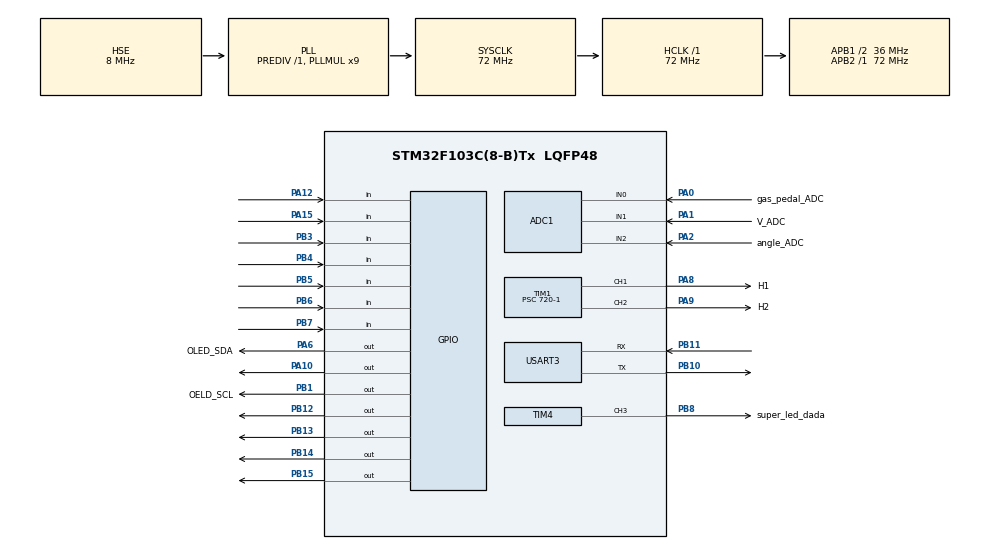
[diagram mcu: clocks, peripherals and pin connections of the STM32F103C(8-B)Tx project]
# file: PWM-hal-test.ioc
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ADC1.Channel-1\#ChannelRegularConversion=ADC_CHANNEL_0
ADC1.Channel-2\#ChannelRegularConversion=ADC_CHANNEL_1
ADC1.Channel-3\#ChannelRegularConversion=ADC_CHANNEL_2
ADC1.ContinuousConvMode=ENABLE
ADC1.ExternalTrigConv=ADC_SOFTWARE_START
ADC1.NbrOfConversion=3
ADC1.NbrOfConversionFlag=1
ADC1.Rank-1\#ChannelRegularConversion=1
ADC1.Rank-2\#ChannelRegularConversion=2
ADC1.Rank-3\#ChannelRegularConversion=3
ADC1.SamplingTime-1\#ChannelRegularConversion=ADC_SAMPLETIME_7CYCLES_5
ADC1.SamplingTime-2\#ChannelRegularConversion=ADC_SAMPLETIME_28CYCLES_5
ADC1.SamplingTime-3\#ChannelRegularConversion=ADC_SAMPLETIME_28CYCLES_5
ADC1.master=1
Dma.ADC1.0.Direction=DMA_PERIPH_TO_MEMORY
Dma.ADC1.0.Instance=DMA1_Channel1
Dma.ADC1.0.MemDataAlignment=DMA_MDATAALIGN_HALFWORD
Dma.ADC1.0.MemInc=DMA_MINC_ENABLE
Dma.ADC1.0.Mode=DMA_CIRCULAR
Dma.ADC1.0.PeriphDataAlignment=DMA_PDATAALIGN_HALFWORD
Dma.ADC1.0.PeriphInc=DMA_PINC_DISABLE
Dma.ADC1.0.Priority=DMA_PRIORITY_LOW
Dma.Request0=ADC1
Dma.Request1=TIM4_CH3
Dma.TIM4_CH3.1.Direction=DMA_MEMORY_TO_PERIPH
Dma.TIM4_CH3.1.Instance=DMA1_Channel5
Dma.TIM4_CH3.1.MemDataAlignment=DMA_MDATAALIGN_HALFWORD
Dma.TIM4_CH3.1.MemInc=DMA_MINC_ENABLE
Dma.TIM4_CH3.1.Mode=DMA_CIRCULAR
Dma.TIM4_CH3.1.PeriphDataAlignment=DMA_PDATAALIGN_HALFWORD
Dma.TIM4_CH3.1.PeriphInc=DMA_PINC_DISABLE
Dma.TIM4_CH3.1.Priority=DMA_PRIORITY_LOW
Mcu.Family=STM32F1
Mcu.Name=STM32F103C(8-B)Tx
Mcu.Package=LQFP48
NVIC.PriorityGroup=NVIC_PRIORITYGROUP_4
PA0-WKUP.GPIO_Label=gas_pedal_ADC
PA0-WKUP.Signal=ADCx_IN0
PA1.GPIO_Label=V_ADC
PA1.Signal=ADCx_IN1
PA10.GPIO_PuPd=GPIO_PULLDOWN
PA10.Signal=GPIO_Output
PA12.GPIO_PuPd=GPIO_PULLDOWN
PA12.Signal=GPIO_Input
PA13.Mode=Serial_Wire
PA13.Signal=SYS_JTMS-SWDIO
PA14.Mode=Serial_Wire
PA14.Signal=SYS_JTCK-SWCLK
PA15.GPIO_PuPd=GPIO_NOPULL
PA15.Signal=GPIO_Input
PA2.GPIO_Label=angle_ADC
PA2.Signal=ADCx_IN2
PA6.GPIO_Label=OLED_SDA
PA6.GPIO_ModeDefaultOutputPP=GPIO_MODE_OUTPUT_OD
PA6.GPIO_PuPd=GPIO_NOPULL
PA6.Signal=GPIO_Output
PA8.GPIO_Label=H1
PA8.Signal=S_TIM1_CH1
PA9.GPIO_Label=H2
PA9.Signal=S_TIM1_CH2
PB1.GPIO_Label=OELD_SCL
PB1.GPIO_ModeDefaultOutputPP=GPIO_MODE_OUTPUT_OD
PB1.GPIO_PuPd=GPIO_NOPULL
PB1.Signal=GPIO_Output
PB10.Mode=Asynchronous
PB10.Signal=USART3_TX
PB11.Mode=Asynchronous
PB11.Signal=USART3_RX
PB12.GPIO_PuPd=GPIO_PULLDOWN
PB12.Signal=GPIO_Output
PB13.GPIO_ModeDefaultOutputPP=GPIO_MODE_OUTPUT_PP
PB13.GPIO_PuPd=GPIO_PULLDOWN
PB13.Signal=GPIO_Output
PB14.GPIO_PuPd=GPIO_PULLDOWN
PB14.Signal=GPIO_Output
PB15.GPIO_PuPd=GPIO_PULLDOWN
PB15.Signal=GPIO_Output
PB3.GPIO_PuPd=GPIO_NOPULL
PB3.Signal=GPIO_Input
PB4.GPIO_PuPd=GPIO_PULLDOWN
PB4.Signal=GPIO_Input
PB5.GPIO_PuPd=GPIO_PULLDOWN
PB5.Signal=GPIO_Input
PB6.GPIO_PuPd=GPIO_PULLDOWN
PB6.Signal=GPIO_Input
PB7.GPIO_PuPd=GPIO_PULLDOWN
PB7.Signal=GPIO_Input
PB8.GPIO_Label=super_led_dada
PB8.Signal=S_TIM4_CH3
PD0-OSC_IN.Mode=HSE-External-Oscillator
PD0-OSC_IN.Signal=RCC_OSC_IN
PD1-OSC_OUT.Mode=HSE-External-Oscillator
PD1-OSC_OUT.Signal=RCC_OSC_OUT
ProjectManager.HeapSize=0x200
ProjectManager.StackSize=0x400
ProjectManager.TargetToolchain=MDK-ARM V5.32
RCC.ADCPresc=RCC_ADCPCLK2_DIV6
RCC.AHBFreq_Value=72000000
RCC.APB1CLKDivider=RCC_HCLK_DIV2
RCC.APB1Freq_Value=36000000
RCC.APB1TimFreq_Value=72000000
RCC.APB2Freq_Value=72000000
RCC.APB2TimFreq_Value=72000000
RCC.HCLKFreq_Value=72000000
RCC.PLLMUL=RCC_PLL_MUL9
RCC.PLLSourceVirtual=RCC_PLLSOURCE_HSE
RCC.SYSCLKFreq_VALUE=72000000
RCC.SYSCLKSource=RCC_SYSCLKSOURCE_PLLCLK
RCC.USBFreq_Value=72000000
SH.ADCx_IN0.0=ADC1_IN0,IN0
SH.ADCx_IN1.0=ADC1_IN1,IN1
SH.ADCx_IN2.0=ADC1_IN2,IN2
SH.S_TIM1_CH1.0=TIM1_CH1,PWM Generation1 CH1
SH.S_TIM1_CH2.0=TIM1_CH2,PWM Generation2 CH2
SH.S_TIM4_CH3.0=TIM4_CH3,PWM Generation3 CH3
TIM1.AutoReloadPreload=TIM_AUTORELOAD_PRELOAD_ENABLE
TIM1.AutomaticOutput=TIM_AUTOMATICOUTPUT_DISABLE
TIM1.Channel-PWM\ Generation1\ CH1=TIM_CHANNEL_1
TIM1.Channel-PWM\ Generation2\ CH2=TIM_CHANNEL_2
TIM1.OCMode_PWM-PWM\ Generation1\ CH1=TIM_OCMODE_PWM1
TIM1.OCMode_PWM-PWM\ Generation2\ CH2=TIM_OCMODE_PWM1
TIM1.OCPolarity_1=TIM_OCPOLARITY_HIGH
TIM1.OCPolarity_2=TIM_OCPOLARITY_HIGH
TIM1.Period=20-1
TIM1.Prescaler=720-1 
TIM4.Channel-PWM\ Generation3\ CH3=TIM_CHANNEL_3
TIM4.Period=90-1
USART3.VirtualMode=VM_ASYNC
VP_TIM1_VS_ClockSourceINT.Mode=Internal
VP_TIM4_VS_ClockSourceINT.Mode=Internal
board=custom

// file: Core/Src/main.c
/* USER CODE BEGIN Header */
/**
  ******************************************************************************
  * @file           : main.c
  * @brief          : Main program body
  ******************************************************************************
  * @attention
  *
  * Copyright (c) 2026 STMicroelectronics.
  * All rights reserved.
  *
  * This software is licensed under terms that can be found in the LICENSE file
  * in the root directory of this software component.
  * If no LICENSE file comes with this software, it is provided AS-IS.
  *
  ******************************************************************************
  */
/* USER CODE END Header */
#include "main.h"
#include "adc.h"
#include "dma.h"
#include "tim.h"
#include "usart.h"
#include "gpio.h"

/* USER CODE BEGIN Includes */
#include "OLED.h"
#include "motor.h"
#include "super_led.h"
/* USER CODE END Includes */

/* USER CODE BEGIN PD */
#define EMA_FACTOR   12       /* EMA 滤波系数: α = 1/EMA_FACTOR, 值越大越平滑但响应会变迟缓 */

/* USER CODE END PD */

/* USER CODE BEGIN PV
*/
	uint16_t ADC_value [3];	//ADC采样值
	uint8_t duty_cycle = 0; //油门CCR原始值0~19
	uint8_t filtered_duty_cycle = 0;   // EMA 滤波后输出值
	uint16_t filtered_accum = 0;       // EMA 历史值
	uint8_t gas = 0;//油门ADC前两位值
	uint8_t last_duty_cycle;  /* 上一次油门值，用于尾灯减速检测 */
	uint32_t tail_light_tick; /* 尾灯亮起的时刻，用于0.5秒延时熄灭 */
/* USER CODE END PV */

void SystemClock_Config(void);

int main(void)
{

  /* MCU Configuration--------------------------------------------------------*/

  /* Reset of all peripherals, Initializes the Flash interface and the Systick. */
  HAL_Init();

  /* Configure the system clock */
  SystemClock_Config();

  /* Initialize all configured peripherals */
  MX_GPIO_Init();
  MX_DMA_Init();
  MX_TIM1_Init();
  MX_ADC1_Init();
  MX_USART3_UART_Init();
  MX_TIM4_Init();
  /* USER CODE BEGIN 2 */
	OLED_Init();
	motor_init();
	super_led_init();
//启动ADC自动校准程序
	HAL_ADCEx_Calibration_Start(&hadc1);
// 启动ADC
	HAL_ADC_Start_DMA(&hadc1,(uint32_t*)&ADC_value,3);
	/*
	内置引脚（输入）
1.油门控制：ADC3.3V PA0
2.总开关 GPIO PB7
3.大灯开关GPIO PB6
4.后退GPIO PB5
5.前进GPIO PB4
6.左灯开关GPIO PB3
7.右灯开关GPIO PA15
8.角度传感器 PA2
9.电压检测 PA1
10.超声波检测模块PA12
内置引脚（输出）
1.尾灯GPIO PB15
2.左转灯GPIO PB14
3.右转灯GPIO PB13
4.前大灯GPIO PB12
5.风扇 GPIO PA10
6.OLED SCL:PB1 SDA:PA6
7.串口 RX:PB11  TX:PB10
8.彩灯PB8满开2.7A
	*/
  /* USER CODE END 2 */

  /* Infinite loop */
  /* USER CODE BEGIN WHILE */
  while (1)
  {
		//油门值转换
	  gas =(ADC_value[0] / 1000) * 10 + ((ADC_value[0] / 100) % 10);//取稳定的前两位数
		duty_cycle = (gas > 9) ? (gas - 9) : 0;   /* gas<9时直接为0，避免uint8下溢到255导致100%占空比过流 */

		/* EMA 低通滤波（定点数，8位小数精度，消除整数截断导致的锁死问题） */
		//之前：整数运算会丢失余数导致数据偏小
		//改版：运算时保留小数，只在最后输出时取整
		filtered_accum = (uint16_t)(((uint32_t)filtered_accum * (EMA_FACTOR - 1) + (uint32_t)duty_cycle * 256) / EMA_FACTOR);
		filtered_duty_cycle = (uint8_t)((filtered_accum + 128) / 256);   /* 四舍五入取整输出 */

		//OLED屏幕显示
		//油门原始值
		OLED_Printf(0,0,OLED_8X16,"gas:%03d ",(duty_cycle));   /* %03d 显示完整3位，末尾空格防残影 */
		//电池电压值
		uint16_t voltage = ((uint32_t)ADC_value[1] * 250) / 4095;
		OLED_Printf(0,17,OLED_8X16,"voltage:%02d.%dV",voltage/10,voltage%10);
		//角度传感器值
		uint16_t angle = ((uint32_t)ADC_value[2] * 360) / 4095;   // 角度0~360
		OLED_Printf(0,33,OLED_8X16,"angle:%03d",angle);
		OLED_Update();

//总控开关
if (HAL_GPIO_ReadPin(GPIOB, GPIO_PIN_7) == GPIO_PIN_SET)
{
    //前大灯控制
    if (HAL_GPIO_ReadPin(GPIOB, GPIO_PIN_6) == GPIO_PIN_SET) {
        HAL_GPIO_WritePin(GPIOB, GPIO_PIN_12, GPIO_PIN_SET);
    } else {
        HAL_GPIO_WritePin(GPIOB, GPIO_PIN_12, GPIO_PIN_RESET);
    }
//	转向灯控制
		//左
		if (HAL_GPIO_ReadPin(GPIOB, GPIO_PIN_3) == GPIO_PIN_SET) {
        HAL_GPIO_WritePin(GPIOB, GPIO_PIN_14, GPIO_PIN_SET);
    } else {
        HAL_GPIO_WritePin(GPIOB, GPIO_PIN_14, GPIO_PIN_RESET);
    }
		//右
		if (HAL_GPIO_ReadPin(GPIOA, GPIO_PIN_15) == GPIO_PIN_SET) {
        HAL_GPIO_WritePin(GPIOB, GPIO_PIN_13, GPIO_PIN_SET);
    } else {
        HAL_GPIO_WritePin(GPIOB, GPIO_PIN_13, GPIO_PIN_RESET);
    }

		//油门控制（档把）
    if (HAL_GPIO_ReadPin(GPIOB, GPIO_PIN_4) == GPIO_PIN_SET) {
        /* ========== 前进状态 ========== */
				//电门
        motor_control(forward, filtered_duty_cycle);

        /* 尾灯(刹车)逻辑: 油门减小(减速)时亮起，亮起后延时0.5秒再熄灭（非阻塞） */
        if (filtered_duty_cycle < last_duty_cycle) {
            HAL_GPIO_WritePin(GPIOB, GPIO_PIN_15, GPIO_PIN_SET);
            tail_light_tick = HAL_GetTick();   /* 记录尾灯亮起的时刻 */
        } else if ((HAL_GetTick() - tail_light_tick) >= 500) {
            HAL_GPIO_WritePin(GPIOB, GPIO_PIN_15, GPIO_PIN_RESET);
        }
        last_duty_cycle = filtered_duty_cycle;   /* 记录本次油门值供下次比较 */

        /* 状态灯: 油门越大 → 颜色越红 */
        g_engine_speed = filtered_duty_cycle;             /* 设置油门值 0~19 */
        super_led_engine();                      /* 非阻塞刷新 */

        /* 主动散热(风扇) */
        HAL_GPIO_WritePin(GPIOA, GPIO_PIN_10, GPIO_PIN_SET);

    } else if (HAL_GPIO_ReadPin(GPIOB, GPIO_PIN_5) == GPIO_PIN_SET) {
        /* ========== 后退状态 ========== */
			//超声波传感器控制状态（油门以及状态灯）
			//当感应到障碍物急刹并且状态灯由绿转红
				if(HAL_GPIO_ReadPin(GPIOA,GPIO_PIN_12) == GPIO_PIN_RESET)
				{
					motor_control(back, filtered_duty_cycle);
					super_led_set_whole(0, 255, 0);
				}
        else if(HAL_GPIO_ReadPin(GPIOA,GPIO_PIN_12) == GPIO_PIN_SET)
				{
					motor_control(stop,0);
					super_led_set_whole(255, 0, 0);
				}

        /* 风扇: 倒车时关闭主动散热 */
        HAL_GPIO_WritePin(GPIOA, GPIO_PIN_10, GPIO_PIN_RESET);

        /* 倒车警示灯持续亮起 (左转，右转，尾灯) */
        HAL_GPIO_WritePin(GPIOB, GPIO_PIN_15, GPIO_PIN_SET);
        HAL_GPIO_WritePin(GPIOB, GPIO_PIN_14, GPIO_PIN_SET);
        HAL_GPIO_WritePin(GPIOB, GPIO_PIN_13, GPIO_PIN_SET);

    } else {
        /* ========== 停止状态(手刹/默认) ========== */
        motor_control(stop, 0);

        /* 风扇: 驻车时开启散热 */
        HAL_GPIO_WritePin(GPIOA, GPIO_PIN_10, GPIO_PIN_SET);

        HAL_GPIO_WritePin(GPIOB, GPIO_PIN_15, GPIO_PIN_SET);   /* 刹车灯常亮 */
        Color_Wipe_NonBlocking();//炫彩流水灯
    }

}
else
{
//关闭大灯
		HAL_GPIO_WritePin(GPIOB, GPIO_PIN_12, GPIO_PIN_RESET);
//关闭灯带
		super_led_set_whole(0,0,0);
//关闭尾灯
	  HAL_GPIO_WritePin(GPIOB, GPIO_PIN_15, GPIO_PIN_RESET);
//关闭左右转灯
		HAL_GPIO_WritePin(GPIOB, GPIO_PIN_13, GPIO_PIN_RESET);
		HAL_GPIO_WritePin(GPIOB, GPIO_PIN_14, GPIO_PIN_RESET);
//关闭风扇
		HAL_GPIO_WritePin(GPIOA, GPIO_PIN_10, GPIO_PIN_RESET);
}
	}

    /* USER CODE END WHILE */

    /* USER CODE BEGIN 3 */
//  }
  /* USER CODE END 3 */
}

void SystemClock_Config(void)
{
  RCC_OscInitTypeDef RCC_OscInitStruct = {0};
  RCC_ClkInitTypeDef RCC_ClkInitStruct = {0};
  RCC_PeriphCLKInitTypeDef PeriphClkInit = {0};

  /** Initializes the RCC Oscillators according to the specified parameters
  * in the RCC_OscInitTypeDef structure.
  */
  RCC_OscInitStruct.OscillatorType = RCC_OSCILLATORTYPE_HSE;
  RCC_OscInitStruct.HSEState = RCC_HSE_ON;
  RCC_OscInitStruct.HSEPredivValue = RCC_HSE_PREDIV_DIV1;
  RCC_OscInitStruct.HSIState = RCC_HSI_ON;
  RCC_OscInitStruct.PLL.PLLState = RCC_PLL_ON;
  RCC_OscInitStruct.PLL.PLLSource = RCC_PLLSOURCE_HSE;
  RCC_OscInitStruct.PLL.PLLMUL = RCC_PLL_MUL9;
  if (HAL_RCC_OscConfig(&RCC_OscInitStruct) != HAL_OK)
  {
    Error_Handler();
  }

  /** Initializes the CPU, AHB and APB buses clocks
  */
  RCC_ClkInitStruct.ClockType = RCC_CLOCKTYPE_HCLK|RCC_CLOCKTYPE_SYSCLK
                              |RCC_CLOCKTYPE_PCLK1|RCC_CLOCKTYPE_PCLK2;
  RCC_ClkInitStruct.SYSCLKSource = RCC_SYSCLKSOURCE_PLLCLK;
  RCC_ClkInitStruct.AHBCLKDivider = RCC_SYSCLK_DIV1;
  RCC_ClkInitStruct.APB1CLKDivider = RCC_HCLK_DIV2;
  RCC_ClkInitStruct.APB2CLKDivider = RCC_HCLK_DIV1;

  if (HAL_RCC_ClockConfig(&RCC_ClkInitStruct, FLASH_LATENCY_2) != HAL_OK)
  {
    Error_Handler();
  }
  PeriphClkInit.PeriphClockSelection = RCC_PERIPHCLK_ADC;
  PeriphClkInit.AdcClockSelection = RCC_ADCPCLK2_DIV6;
  if (HAL_RCCEx_PeriphCLKConfig(&PeriphClkInit) != HAL_OK)
  {
    Error_Handler();
  }
}

void Error_Handler(void)
{
  __disable_irq();
  while (1)
  {
  }
}
